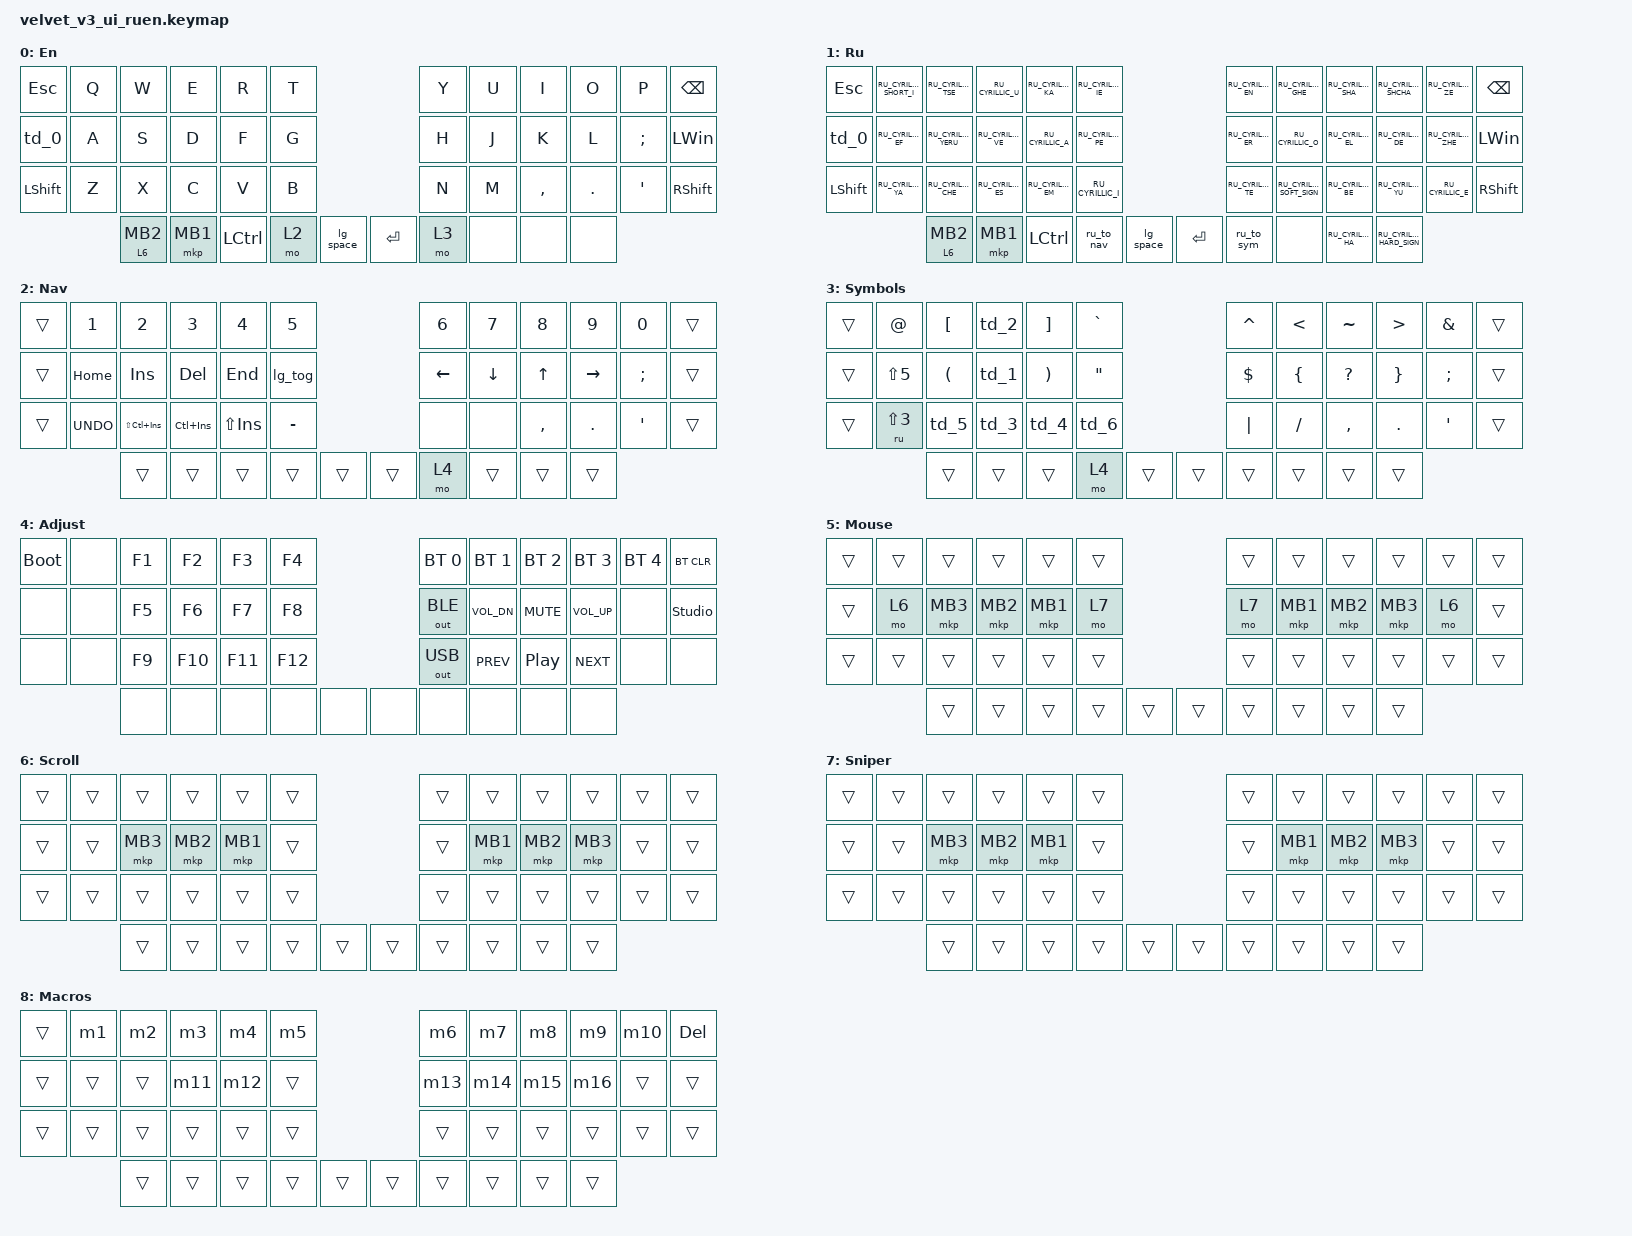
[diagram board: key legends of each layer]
#include "keys_ru.h"
#include <dt-bindings/zmk/input_transform.h>
#include <input/processors.dtsi>
#include <zephyr/dt-bindings/input/input-event-codes.h>
#include <behaviors.dtsi>
#include <dt-bindings/zmk/bt.h>
#include <dt-bindings/zmk/keys.h>
#include <dt-bindings/zmk/outputs.h>
#include <dt-bindings/zmk/pointing.h>

/ {
    behaviors {
        cap_sen: cap_sen {
            compatible = "zmk,behavior-hold-tap";
            label = "CAP_SEN";
            bindings = <&mo>, <&mkp>;

            #binding-cells = <2>;
            tapping-term-ms = <150>;
            hold-while-undecided;
        };

        mouse_layer: mouse_layer {
            compatible = "zmk,behavior-sticky-key";
            label = "MOUSE_LAYER";
            bindings = <&mo>;
            #binding-cells = <1>;
            release-after-ms = <200>;
        };

        zip_auto_mouse: zip_auto_mouse {
            compatible = "zmk,input-processor-temp-layer";
            #input-processor-cells = <2>;
            require-prior-idle-ms = <800>;
            excluded-positions = <>;
        };

        lg_space: lg_space {
            compatible = "zmk,behavior-mod-morph";
            label = "toggle `ru` layer with LGUI";
            bindings = <&kp SPACE>, <&lg_tog>;

            #binding-cells = <0>;
            mods = <(MOD_LGUI)>;
        };

        td_0: td_0 {
            compatible = "zmk,behavior-tap-dance";
            label = "TD_0";
            #binding-cells = <0>;
            bindings = <&lt 8 TAB>, <&mt LWIN TAB>;
        };

        td_2: td_2 {
            compatible = "zmk,behavior-tap-dance";
            label = "TD_2";
            #binding-cells = <0>;
            bindings = <&kp EQUAL>, <&kp LS(EQUAL)>;
        };

        td_1: td_1 {
            compatible = "zmk,behavior-tap-dance";
            label = "TD_1";
            #binding-cells = <0>;
            bindings = <&kp MINUS>, <&kp LS(MINUS)>;
        };

        td_3: td_3 {
            compatible = "zmk,behavior-tap-dance";
            label = "TD_3";
            #binding-cells = <0>;
            bindings = <&kp LS(SEMI)>, <&kp SEMI>;
        };

        td_4: td_4 {
            compatible = "zmk,behavior-tap-dance";
            label = "TD_4";
            #binding-cells = <0>;
            bindings = <&kp DOT>, <&kp COMMA>;
        };

        td_6: td_6 {
            compatible = "zmk,behavior-tap-dance";
            label = "TD_6";
            #binding-cells = <0>;
            bindings = <&kp EXCL>, <&kp BACKSLASH>;
        };

        td_5: td_5 {
            compatible = "zmk,behavior-tap-dance";
            label = "TD_5";
            #binding-cells = <0>;
            bindings = <&kp ASTERISK>, <&kp HASH>;
        };
    };

    combos {
        compatible = "zmk,combos";

        Alt {
            bindings = <&kp LEFT_ALT>;
            key-positions = <41 42>;
        };

        mouse_sniper {
            bindings = <&cap_sen 7 MB3>;
            key-positions = <36 37>;
        };

        Alt2 {
            bindings = <&kp LEFT_ALT>;
            key-positions = <44 45>;
        };
    };

    macros {
        to_ru: to_ru {
            compatible = "zmk,behavior-macro";
            #binding-cells = <0>;
            bindings = <&kp LG(SPACE)>;
            label = "TO_RU";
            wait-ms = <0>;
            tap-ms = <30>;
        };

        to_en: to_en {
            compatible = "zmk,behavior-macro";
            #binding-cells = <0>;
            bindings = <&kp LG(SPACE)>;
            label = "TO_EN";
            wait-ms = <0>;
            tap-ms = <30>;
        };

        lg_tog: lg_tog {
            compatible = "zmk,behavior-macro";
            #binding-cells = <0>;
            bindings = <&kp LG(SPACE) &tog 1>;
            label = "LG_TOG";
        };

        ru: ru {
            compatible = "zmk,behavior-macro-one-param";
            #binding-cells = <1>;
            bindings =
                <&to_ru>,
                <&macro_press>,
                <&macro_param_1to1 &kp MACRO_PLACEHOLDER>,
                <&macro_pause_for_release>,
                <&macro_release>,
                <&macro_param_1to1 &kp MACRO_PLACEHOLDER>,
                <&macro_tap>,
                <&to_en>;

            label = "RU";
            wait-ms = <0>;
            tap-ms = <30>;
        };

        m1: m1 {
            compatible = "zmk,behavior-macro";
            #binding-cells = <0>;
            bindings =
                <&macro_press>,
                <&kp LEFT_WIN>,
                <&macro_tap>,
                <&kp N1>,
                <&macro_release>,
                <&kp LEFT_WIN>;

            label = "M1";
        };

        m2: m2 {
            compatible = "zmk,behavior-macro";
            #binding-cells = <0>;
            bindings =
                <&macro_press>,
                <&kp LEFT_WIN>,
                <&macro_tap>,
                <&kp NUMBER_2>,
                <&macro_release>,
                <&kp LEFT_WIN>;

            label = "M2";
        };

        m3: m3 {
            compatible = "zmk,behavior-macro";
            #binding-cells = <0>;
            bindings =
                <&macro_press>,
                <&kp LEFT_WIN>,
                <&macro_tap>,
                <&kp NUMBER_3>,
                <&macro_release>,
                <&kp LEFT_WIN>;

            label = "M3";
        };

        m4: m4 {
            compatible = "zmk,behavior-macro";
            #binding-cells = <0>;
            bindings =
                <&macro_press>,
                <&kp LEFT_WIN>,
                <&macro_tap>,
                <&kp NUMBER_4>,
                <&macro_release>,
                <&kp LEFT_WIN>;

            label = "M4";
        };

        m5: m5 {
            compatible = "zmk,behavior-macro";
            #binding-cells = <0>;
            bindings =
                <&macro_press>,
                <&kp LEFT_WIN>,
                <&macro_tap>,
                <&kp NUMBER_5>,
                <&macro_release>,
                <&kp LEFT_WIN>;

            label = "M5";
        };

        m6: m6 {
            compatible = "zmk,behavior-macro";
            #binding-cells = <0>;
            bindings =
                <&macro_press>,
                <&kp LEFT_WIN>,
                <&macro_tap>,
                <&kp N6>,
                <&macro_release>,
                <&kp LEFT_WIN>;

            label = "M6";
        };

        m7: m7 {
            compatible = "zmk,behavior-macro";
            #binding-cells = <0>;
            bindings =
                <&macro_press>,
                <&kp LEFT_WIN>,
                <&macro_tap>,
                <&kp NUMBER_7>,
                <&macro_release>,
                <&kp LEFT_WIN>;

            label = "M7";
        };

        m8: m8 {
            compatible = "zmk,behavior-macro";
            #binding-cells = <0>;
            bindings =
                <&macro_press>,
                <&kp LEFT_WIN>,
                <&macro_tap>,
                <&kp NUMBER_8>,
                <&macro_release>,
                <&kp LEFT_WIN>;

            label = "M8";
        };

        m9: m9 {
            compatible = "zmk,behavior-macro";
            #binding-cells = <0>;
            bindings =
                <&macro_press>,
                <&kp LEFT_WIN>,
                <&macro_tap>,
                <&kp NUMBER_9>,
                <&macro_release>,
                <&kp LEFT_WIN>;

            label = "M9";
        };

        m10: m10 {
            compatible = "zmk,behavior-macro";
            #binding-cells = <0>;
            bindings =
                <&macro_press>,
                <&kp LEFT_WIN>,
                <&macro_tap>,
                <&kp NUMBER_0>,
                <&macro_release>,
                <&kp LEFT_WIN>;

            label = "M10";
        };

        m11: m11 {
            compatible = "zmk,behavior-macro";
            #binding-cells = <0>;
            bindings =
                <&macro_press>,
                <&kp LEFT_WIN>,
                <&macro_tap>,
                <&kp D>,
                <&macro_release>,
                <&kp LEFT_WIN>;

            label = "M11";
        };

        m12: m12 {
            compatible = "zmk,behavior-macro";
            #binding-cells = <0>;
            bindings =
                <&macro_press>,
                <&kp LEFT_WIN>,
                <&macro_tap>,
                <&kp F>,
                <&macro_release>,
                <&kp LEFT_WIN>;

            label = "M12";
        };

        m13: m13 {
            compatible = "zmk,behavior-macro";
            #binding-cells = <0>;
            bindings =
                <&macro_press>,
                <&kp LEFT_WIN>,
                <&macro_tap>,
                <&kp H>,
                <&macro_release>,
                <&kp LEFT_WIN>;

            label = "M13";
        };

        m14: m14 {
            compatible = "zmk,behavior-macro";
            #binding-cells = <0>;
            bindings =
                <&macro_press>,
                <&kp LEFT_WIN>,
                <&macro_tap>,
                <&kp J>,
                <&macro_release>,
                <&kp LEFT_WIN>;

            label = "M14";
        };

        m15: m15 {
            compatible = "zmk,behavior-macro";
            #binding-cells = <0>;
            bindings =
                <&macro_press>,
                <&kp LEFT_WIN>,
                <&macro_tap>,
                <&kp K>,
                <&macro_release>,
                <&kp LEFT_WIN>;

            label = "M15";
        };

        m16: m16 {
            compatible = "zmk,behavior-macro";
            #binding-cells = <0>;
            bindings =
                <&macro_press>,
                <&kp LEFT_WIN>,
                <&macro_tap>,
                <&kp L>,
                <&macro_release>,
                <&kp LEFT_WIN>;

            label = "M16";
        };

        ru_to_sym: ru_temp_en {
            compatible = "zmk,behavior-macro";
            #binding-cells = <0>;
            bindings =
                <&macro_press>,
                <&mo 3>,
                <&macro_tap>,
                <&kp LG(SPACE)>,
                <&macro_pause_for_release>,
                <&macro_release>,
                <&mo 3>,
                <&macro_tap>,
                <&kp LG(SPACE)>;

            label = "RU_TEMP_EN";
        };

        ru_to_nav: ru_to_nav {
            compatible = "zmk,behavior-macro";
            #binding-cells = <0>;
            bindings =
                <&macro_press>,
                <&mo 2>,
                <&macro_tap>,
                <&kp LG(SPACE)>,
                <&macro_pause_for_release>,
                <&macro_release>,
                <&mo 2>,
                <&macro_tap>,
                <&kp LG(SPACE)>;

            label = "RU_TO_NAV";
        };
    };

    keymap {
        compatible = "zmk,keymap";

        en {
            bindings = <
&kp ESC    &kp Q  &kp W           &kp E     &kp R      &kp T                        &kp Y  &kp U  &kp I      &kp O    &kp P     &kp BSPC
&td_0      &kp A  &kp S           &kp D     &kp F      &kp G                        &kp H  &kp J  &kp K      &kp L    &kp SEMI  &kp LWIN
&kp LSHFT  &kp Z  &kp X           &kp C     &kp V      &kp B                        &kp N  &kp M  &kp COMMA  &kp DOT  &kp SQT   &kp RSHFT
                  &cap_sen 6 MB2  &mkp MB1  &kp LCTRL  &mo 2  &lg_space    &kp RET  &mo 3  &none  &none      &none
            >;

            display-name = "En";
        };

        ru {
            bindings = <
&kp ESC    &kp RU_CYRILLIC_SHORT_I  &kp RU_CYRILLIC_TSE   &kp RU_CYRILLIC_U   &kp RU_CYRILLIC_KA  &kp RU_CYRILLIC_IE                        &kp RU_CYRILLIC_EN  &kp RU_CYRILLIC_GHE        &kp RU_CYRILLIC_SHA  &kp RU_CYRILLIC_SHCHA      &kp RU_CYRILLIC_ZE   &kp BSPC
&td_0      &kp RU_CYRILLIC_EF       &kp RU_CYRILLIC_YERU  &kp RU_CYRILLIC_VE  &kp RU_CYRILLIC_A   &kp RU_CYRILLIC_PE                        &kp RU_CYRILLIC_ER  &kp RU_CYRILLIC_O          &kp RU_CYRILLIC_EL   &kp RU_CYRILLIC_DE         &kp RU_CYRILLIC_ZHE  &kp LEFT_WIN
&kp LSHFT  &kp RU_CYRILLIC_YA       &kp RU_CYRILLIC_CHE   &kp RU_CYRILLIC_ES  &kp RU_CYRILLIC_EM  &kp RU_CYRILLIC_I                         &kp RU_CYRILLIC_TE  &kp RU_CYRILLIC_SOFT_SIGN  &kp RU_CYRILLIC_BE   &kp RU_CYRILLIC_YU         &kp RU_CYRILLIC_E    &kp RSHFT
                                    &cap_sen 6 MB2        &mkp MB1            &kp LCTRL           &ru_to_nav          &lg_space    &kp RET  &ru_to_sym          &none                      &kp RU_CYRILLIC_HA   &kp RU_CYRILLIC_HARD_SIGN
            >;

            display-name = "Ru";
        };

        nav {
            bindings = <
&trans  &kp N1      &kp N2           &kp N3       &kp N4       &kp N5                       &kp N6          &kp N7          &kp N8        &kp N9           &kp N0    &trans
&trans  &kp HOME    &kp INS          &kp DELETE   &kp END      &lg_tog                      &kp LEFT_ARROW  &kp DOWN_ARROW  &kp UP_ARROW  &kp RIGHT_ARROW  &kp SEMI  &trans
&trans  &kp K_UNDO  &kp LS(LC(INS))  &kp LC(INS)  &kp LS(INS)  &kp MINUS                    &none           &none           &kp COMMA     &kp DOT          &kp APOS  &trans
                    &trans           &trans       &trans       &trans     &trans    &trans  &mo 4           &trans          &trans        &trans
            >;

            display-name = "Nav";
        };

        sym {
            bindings = <
&trans  &kp AT            &kp LEFT_BRACKET  &td_2   &kp RIGHT_BRACKET  &kp GRAVE                            &kp CARET   &kp LT     &kp TILDE     &kp GT    &kp AMPS  &trans
&trans  &kp LS(NUMBER_5)  &kp LPAR          &td_1   &kp RPAR           &kp DOUBLE_QUOTES                    &kp DOLLAR  &kp LBRC   &kp QUESTION  &kp RBRC  &kp SEMI  &trans
&trans  &ru LS(NUMBER_3)  &td_5             &td_3   &td_4              &td_6                                &kp PIPE    &kp SLASH  &kp COMMA     &kp DOT   &kp APOS  &trans
                          &trans            &trans  &trans             &mo 4              &trans    &trans  &trans      &trans     &trans        &trans
            >;

            display-name = "Symbols";
        };

        adj {
            bindings = <
&bootloader  &none  &kp F1  &kp F2   &kp F3   &kp F4                   &bt BT_SEL 0  &bt BT_SEL 1  &bt BT_SEL 2      &bt BT_SEL 3  &bt BT_SEL 4  &bt BT_CLR
&none        &none  &kp F5  &kp F6   &kp F7   &kp F8                   &out OUT_BLE  &kp C_VOL_DN  &kp C_MUTE        &kp C_VOL_UP  &none         &studio_unlock
&none        &none  &kp F9  &kp F10  &kp F11  &kp F12                  &out OUT_USB  &kp C_PREV    &kp C_PLAY_PAUSE  &kp C_NEXT    &none         &none
                    &none   &none    &none    &none    &none    &none  &none         &none         &none             &none
            >;

            display-name = "Adjust";
        };

        mouse {
            bindings = <
&trans  &trans  &trans    &trans    &trans    &trans                    &trans  &trans    &trans    &trans    &trans  &trans
&trans  &mo 6   &mkp MB3  &mkp MB2  &mkp MB1  &mo 7                     &mo 7   &mkp MB1  &mkp MB2  &mkp MB3  &mo 6   &trans
&trans  &trans  &trans    &trans    &trans    &trans                    &trans  &trans    &trans    &trans    &trans  &trans
                &trans    &trans    &trans    &trans  &trans    &trans  &trans  &trans    &trans    &trans
            >;

            display-name = "Mouse";
        };

        scroll {
            bindings = <
&trans  &trans  &trans    &trans    &trans    &trans                    &trans  &trans    &trans    &trans    &trans  &trans
&trans  &trans  &mkp MB3  &mkp MB2  &mkp MB1  &trans                    &trans  &mkp MB1  &mkp MB2  &mkp MB3  &trans  &trans
&trans  &trans  &trans    &trans    &trans    &trans                    &trans  &trans    &trans    &trans    &trans  &trans
                &trans    &trans    &trans    &trans  &trans    &trans  &trans  &trans    &trans    &trans
            >;

            display-name = "Scroll";
        };

        sniper {
            bindings = <
&trans  &trans  &trans    &trans    &trans    &trans                    &trans  &trans    &trans    &trans    &trans  &trans
&trans  &trans  &mkp MB3  &mkp MB2  &mkp MB1  &trans                    &trans  &mkp MB1  &mkp MB2  &mkp MB3  &trans  &trans
&trans  &trans  &trans    &trans    &trans    &trans                    &trans  &trans    &trans    &trans    &trans  &trans
                &trans    &trans    &trans    &trans  &trans    &trans  &trans  &trans    &trans    &trans
            >;

            display-name = "Sniper";
        };

        macros {
            bindings = <
&trans  &m1     &m2     &m3     &m4     &m5                       &m6     &m7     &m8     &m9     &m10    &kp DELETE
&trans  &trans  &trans  &m11    &m12    &trans                    &m13    &m14    &m15    &m16    &trans  &trans
&trans  &trans  &trans  &trans  &trans  &trans                    &trans  &trans  &trans  &trans  &trans  &trans
                &trans  &trans  &trans  &trans  &trans    &trans  &trans  &trans  &trans  &trans
            >;

            display-name = "Macros";
        };
    };
};

&trackball { cpi = <1000>; };

&trackball_listener {
    /* input-processors = <&zip_auto_mouse 5 500>, <&zip_xy_scaler 9 20>; */

    input-processors = <&zip_xy_scaler 9 20>;

    scroller {
        layers = <6>;
        input-processors =
            <&zip_xy_transform INPUT_TRANSFORM_Y_INVERT>,
            <&zip_xy_scaler 1 32>,
            <&zip_xy_to_scroll_mapper>;
    };

    sniper {
        layers = <7>;
        input-processors = <&zip_xy_scaler 1 4>;
    };
};
